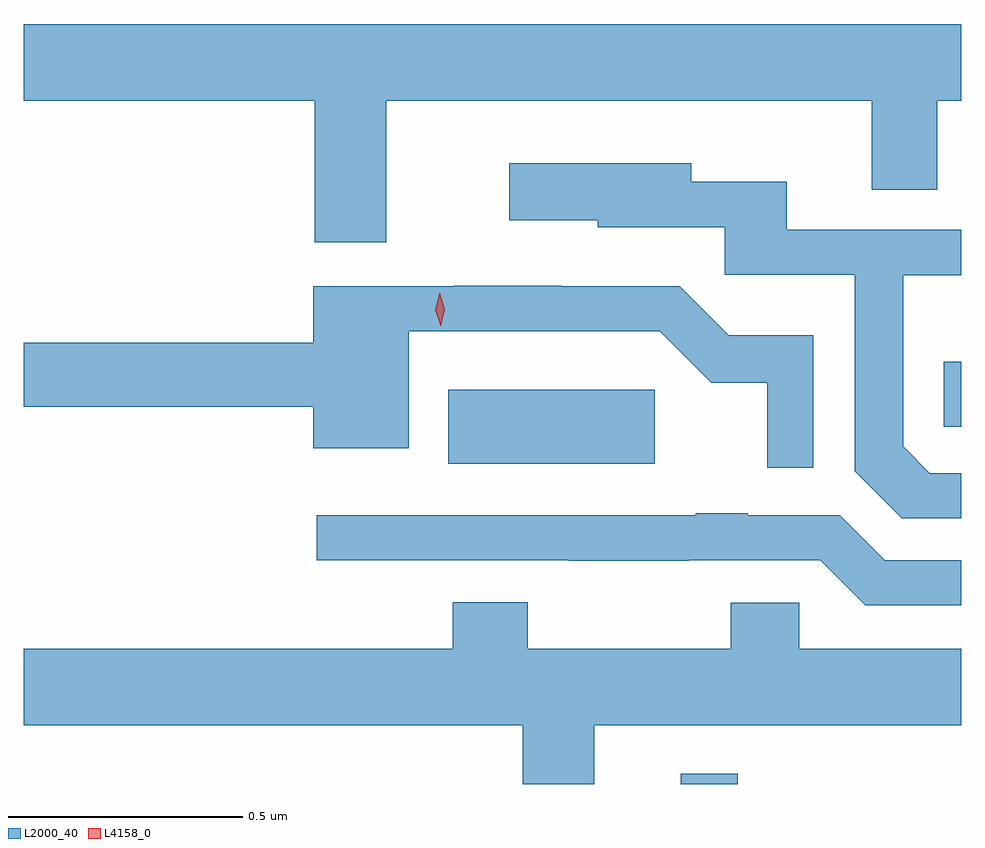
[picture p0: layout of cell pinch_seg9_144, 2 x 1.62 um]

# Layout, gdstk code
import gdstk
lib = gdstk.Library(unit=1e-6, precision=1e-09)
def R(c, l, rs):  # rectangles x0, y0, x1, y1
    for r in rs: c.add(gdstk.rectangle(r[:2], r[2:], *l))
def P(c, l, *ps):  # polygons
    for p in ps: c.add(gdstk.Polygon(p, *l))
L2000_40 = (2000, 40)
L4158_0 = (4158, 0)

pinch_seg9_144 = lib.new_cell('pinch_seg9_144')
R(pinch_seg9_144, L2000_40, [(648.107,1229.595,648.229,1229.617), (647.612,1230.278,648.052,1230.436), (648.668,1230.357,648.706,1230.496)])
P(pinch_seg9_144, L2000_40, [(647.479,1231.052),(648.515,1231.052),(648.515,1230.862),(648.655,1230.862),(648.655,1231.052),(648.706,1231.052),(648.706,1231.216),(646.706,1231.216),(646.706,1231.052),(647.327,1231.052),(647.327,1230.75),(647.479,1230.75)],
  [(648.706,1230.258),(648.639,1230.258),(648.582,1230.315),(648.582,1230.68),(648.706,1230.68),(648.706,1230.777),(648.334,1230.777),(648.334,1230.88),(648.13,1230.88),(648.13,1230.919),(647.742,1230.919),(647.742,1230.797),(647.931,1230.797),(647.931,1230.783),(648.201,1230.783),(648.201,1230.681),(648.479,1230.681),(648.479,1230.262),(648.579,1230.162),(648.706,1230.162)],
  [(648.39,1230.552),(648.21,1230.552),(648.105,1230.657),(647.854,1230.657),(647.854,1230.658),(647.623,1230.658),(647.623,1230.657),(647.324,1230.657),(647.324,1230.536),(646.706,1230.536),(646.706,1230.4),(647.324,1230.4),(647.324,1230.311),(647.527,1230.311),(647.527,1230.561),(648.063,1230.561),(648.173,1230.451),(648.292,1230.451),(648.292,1230.27),(648.39,1230.27)],
  [(648.706,1230.072),(648.543,1230.072),(648.447,1230.168),(648.25,1230.168),(648.25,1230.173),(648.139,1230.173),(648.139,1230.168),(647.331,1230.168),(647.331,1230.072),(647.869,1230.072),(647.869,1230.071),(648.125,1230.071),(648.125,1230.072),(648.405,1230.072),(648.501,1229.976),(648.706,1229.976)],
  [(647.923,1229.72),(648.706,1229.72),(648.706,1229.884),(648.36,1229.884),(648.36,1229.982),(648.214,1229.982),(648.214,1229.884),(647.781,1229.884),(647.781,1229.983),(647.621,1229.983),(647.621,1229.884),(646.706,1229.884),(646.706,1229.72),(647.771,1229.72),(647.771,1229.595),(647.923,1229.595)])
P(pinch_seg9_144, L4158_0, [(647.596,1230.571),(647.596,1230.572),(647.584,1230.607),(647.593,1230.643),(647.593,1230.643),(647.593,1230.643),(647.604,1230.608),(647.596,1230.572)])

lib.write_gds('pinch_seg9_144.gds')
